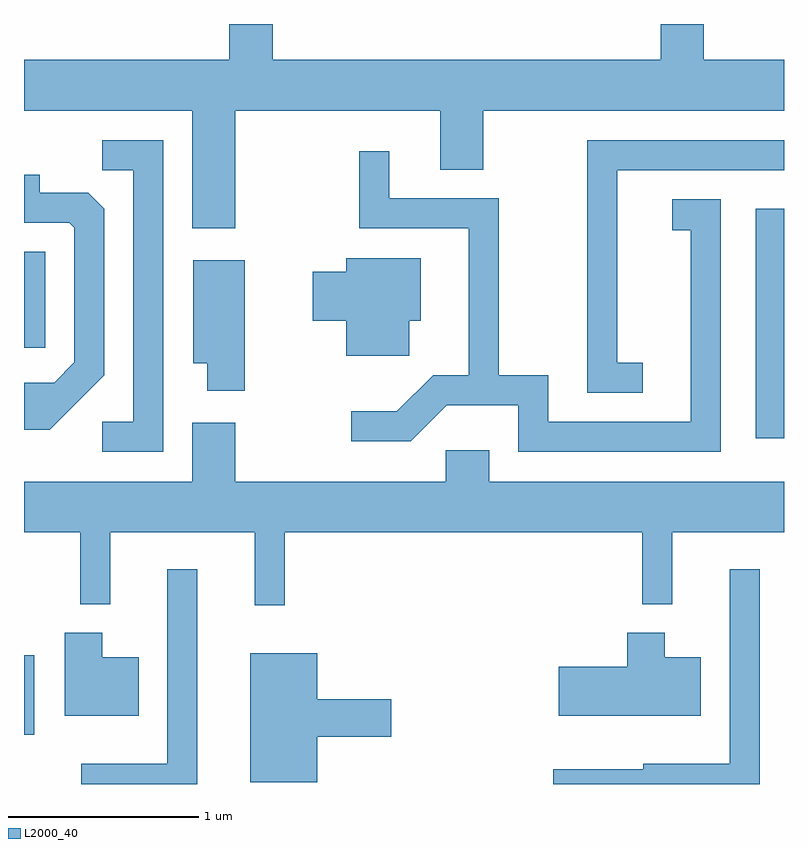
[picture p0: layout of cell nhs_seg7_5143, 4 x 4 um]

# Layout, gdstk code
import gdstk
lib = gdstk.Library(unit=1e-6, precision=1e-09)
def R(c, l, rs):  # rectangles x0, y0, x1, y1
    for r in rs: c.add(gdstk.rectangle(r[:2], r[2:], *l))
def P(c, l, *ps):  # polygons
    for p in ps: c.add(gdstk.Polygon(p, *l))
L2000_40 = (2000, 40)

nhs_seg7_5143 = lib.new_cell('nhs_seg7_5143')
R(nhs_seg7_5143, L2000_40, [(341.611,1786.511,341.664,1786.929), (345.461,1788.071,345.611,1789.279), (341.611,1788.548,341.724,1789.054)])
P(nhs_seg7_5143, L2000_40, [(342.724,1789.796),(343.801,1789.796),(343.801,1789.486),(344.029,1789.486),(344.029,1789.796),(345.611,1789.796),(345.611,1790.064),(345.189,1790.064),(345.189,1790.252),(344.961,1790.252),(344.961,1790.064),(342.919,1790.064),(342.919,1790.252),(342.691,1790.252),(342.691,1790.064),(341.611,1790.064),(341.611,1789.796),(342.496,1789.796),(342.496,1789.176),(342.724,1789.176)],
  [(342.344,1789.639),(342.023,1789.639),(342.023,1789.481),(342.186,1789.481),(342.186,1788.159),(342.023,1788.159),(342.023,1788.001),(342.344,1788.001)],
  [(344.868,1788.469),(344.734,1788.469),(344.734,1789.481),(345.611,1789.481),(345.611,1789.639),(344.576,1789.639),(344.576,1788.311),(344.868,1788.311)],
  [(345.279,1789.329),(345.023,1789.329),(345.023,1789.166),(345.121,1789.166),(345.121,1788.159),(344.369,1788.159),(344.369,1788.404),(344.109,1788.404),(344.109,1789.334),(343.534,1789.334),(343.534,1789.583),(343.376,1789.583),(343.376,1789.176),(343.951,1789.176),(343.951,1788.404),(343.764,1788.404),(343.574,1788.214),(343.333,1788.214),(343.333,1788.056),(343.647,1788.056),(343.837,1788.246),(344.211,1788.246),(344.211,1788.001),(345.279,1788.001)],
  [(342.034,1788.404),(342.034,1789.279),(341.949,1789.364),(341.694,1789.364),(341.694,1789.459),(341.611,1789.459),(341.611,1789.206),(341.849,1789.206),(341.876,1789.179),(341.876,1788.472),(341.769,1788.364),(341.611,1788.364),(341.611,1788.116),(341.747,1788.116)],
  [(343.639,1788.691),(343.699,1788.691),(343.699,1789.019),(343.306,1789.019),(343.306,1788.949),(343.131,1788.949),(343.131,1788.691),(343.306,1788.691),(343.306,1788.506),(343.639,1788.506)],
  [(342.774,1789.009),(342.501,1789.009),(342.501,1788.466),(342.576,1788.466),(342.576,1788.321),(342.774,1788.321)],
  [(342.984,1787.576),(344.866,1787.576),(344.866,1787.198),(345.024,1787.198),(345.024,1787.576),(345.611,1787.576),(345.611,1787.844),(344.059,1787.844),(344.059,1788.009),(343.831,1788.009),(343.831,1787.844),(342.724,1787.844),(342.724,1788.154),(342.496,1788.154),(342.496,1787.844),(341.611,1787.844),(341.611,1787.576),(341.906,1787.576),(341.906,1787.198),(342.064,1787.198),(342.064,1787.576),(342.826,1787.576),(342.826,1787.193),(342.984,1787.193)],
  [(342.524,1787.383),(342.366,1787.383),(342.366,1786.359),(341.911,1786.359),(341.911,1786.252),(342.524,1786.252)],
  [(345.484,1787.383),(345.326,1787.383),(345.326,1786.359),(344.871,1786.359),(344.871,1786.329),(344.396,1786.329),(344.396,1786.252),(345.484,1786.252)],
  [(342.214,1786.919),(342.024,1786.919),(342.024,1787.049),(341.826,1787.049),(341.826,1786.611),(342.214,1786.611)],
  [(345.174,1786.919),(344.984,1786.919),(344.984,1787.049),(344.786,1787.049),(344.786,1786.869),(344.426,1786.869),(344.426,1786.611),(345.174,1786.611)],
  [(343.154,1786.501),(343.544,1786.501),(343.544,1786.699),(343.154,1786.699),(343.154,1786.939),(342.801,1786.939),(342.801,1786.261),(343.154,1786.261)])

lib.write_gds('nhs_seg7_5143.gds')
